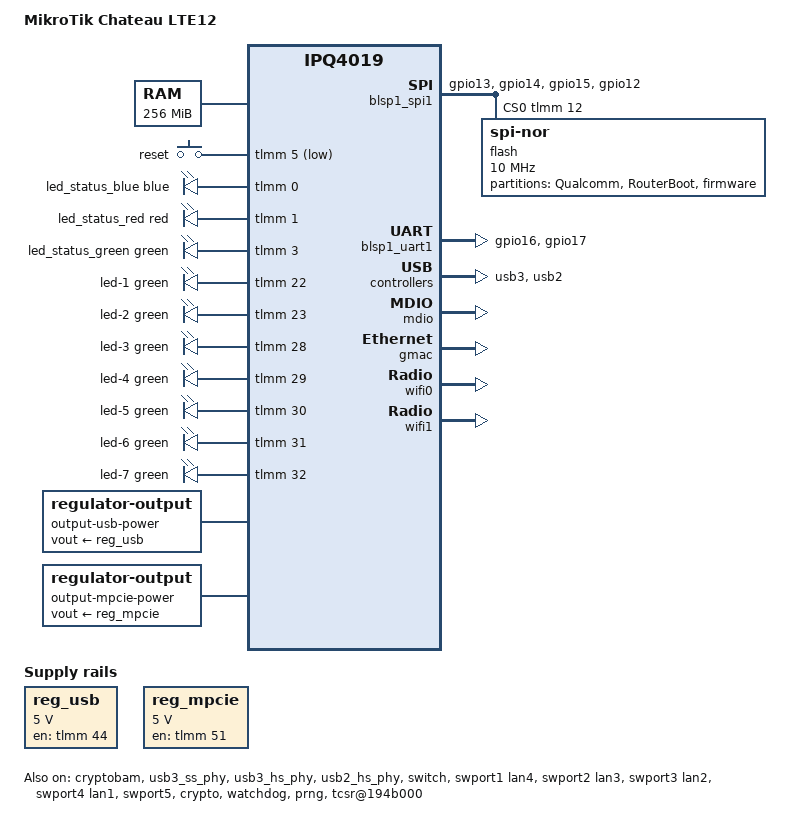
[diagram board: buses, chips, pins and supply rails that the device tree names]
// SPDX-License-Identifier: GPL-2.0-or-later OR MIT
/* Copyright (c) 2021, Robert Marko <robimarko@gmail.com> */

#include "qcom-ipq4019.dtsi"
#include <dt-bindings/gpio/gpio.h>
#include <dt-bindings/input/input.h>
#include <dt-bindings/leds/common.h>
#include <dt-bindings/soc/qcom,tcsr.h>

/ {
	model = "MikroTik Chateau LTE12";
	compatible = "mikrotik,chateau-lte12";

	memory {
		device_type = "memory";
		reg = <0x80000000 0x10000000>;
	};

	chosen {
		stdout-path = "serial0:115200n8";
	};

	aliases {
		led-boot = &led_status_blue;
		led-failsafe = &led_status_red;
		led-running = &led_status_blue;
		led-upgrade = &led_status_red;
	};

	soc {
		counter@4a1000 {
			compatible = "qcom,qca-gcnt";
			reg = <0x4a1000 0x4>;
		};

		tcsr@1949000 {
			compatible = "qcom,tcsr";
			reg = <0x1949000 0x100>;
			qcom,wifi_glb_cfg = <TCSR_WIFI_GLB_CFG>;
		};

		tcsr@194b000 {
			/* select hostmode */
			compatible = "qcom,tcsr";
			reg = <0x194b000 0x100>;
			qcom,usb-hsphy-mode-select = <TCSR_USB_HSPHY_HOST_MODE>;
			status = "okay";
		};

		ess_tcsr@1953000 {
			compatible = "qcom,tcsr";
			reg = <0x1953000 0x1000>;
			qcom,ess-interface-select = <TCSR_ESS_PSGMII>;
		};

		tcsr@1957000 {
			compatible = "qcom,tcsr";
			reg = <0x1957000 0x100>;
			qcom,wifi_noc_memtype_m0_m2 = <TCSR_WIFI_NOC_MEMTYPE_M0_M2>;
		};
	};

	keys {
		compatible = "gpio-keys";

		reset {
			label = "reset";
			gpios = <&tlmm 5 GPIO_ACTIVE_LOW>;
			linux,code = <KEY_RESTART>;
		};
	};

	leds {
		compatible = "gpio-leds";

		led_status_blue: status-blue {
			function = LED_FUNCTION_STATUS;
			color = <LED_COLOR_ID_BLUE>;
			gpios = <&tlmm 0 GPIO_ACTIVE_HIGH>;
		};

		led_status_red: status-red {
			function = LED_FUNCTION_STATUS;
			color = <LED_COLOR_ID_RED>;
			gpios = <&tlmm 1 GPIO_ACTIVE_HIGH>;
			panic-indicator;
		};

		led_status_green: status-green {
			function = LED_FUNCTION_STATUS;
			color = <LED_COLOR_ID_GREEN>;
			gpios = <&tlmm 3 GPIO_ACTIVE_HIGH>;
		};

		led-1 {
			function = LED_FUNCTION_WLAN;
			function-enumerator = <0>;
			color = <LED_COLOR_ID_GREEN>;
			gpios = <&tlmm 22 GPIO_ACTIVE_HIGH>;
			linux,default-trigger = "phy0tpt";
		};

		led-2 {
			function = LED_FUNCTION_WLAN;
			function-enumerator = <1>;
			color = <LED_COLOR_ID_GREEN>;
			gpios = <&tlmm 23 GPIO_ACTIVE_HIGH>;
			linux,default-trigger = "phy1tpt";
		};

		led-3 {
			function = LED_FUNCTION_WAN;
			color = <LED_COLOR_ID_GREEN>;
			gpios = <&tlmm 28 GPIO_ACTIVE_HIGH>;
		};

		led-4 {
			color = <LED_COLOR_ID_GREEN>;
			function = LED_FUNCTION_LAN;
			function-enumerator = <1>;
			gpios = <&tlmm 29 GPIO_ACTIVE_HIGH>;
		};

		led-5 {
			color = <LED_COLOR_ID_GREEN>;
			function = LED_FUNCTION_LAN;
			function-enumerator = <2>;
			gpios = <&tlmm 30 GPIO_ACTIVE_HIGH>;
		};

		led-6 {
			color = <LED_COLOR_ID_GREEN>;
			function = LED_FUNCTION_LAN;
			function-enumerator = <3>;
			gpios = <&tlmm 31 GPIO_ACTIVE_HIGH>;
		};

		led-7 {
			color = <LED_COLOR_ID_GREEN>;
			function = LED_FUNCTION_LAN;
			function-enumerator = <4>;
			gpios = <&tlmm 32 GPIO_ACTIVE_HIGH>;
		};

	};
	output-usb-power {
		compatible = "regulator-output";
		vout-supply = <&reg_usb>;
	};

	reg_usb: regulator-usb {
		compatible = "regulator-fixed";
	
		pinctrl-0 = <&reg_usb_pins>;
		pinctrl-names = "default";
	
		enable-active-high;
		gpios = <&tlmm 44 GPIO_ACTIVE_HIGH>;
		regulator-max-microvolt = <5000000>;
		regulator-min-microvolt = <5000000>;
		regulator-name = "reg_usb";
		regulator-boot-on;
	};

	output-mpcie-power {
		compatible = "regulator-output";
		vout-supply = <&reg_mpcie>;
	};
	
	reg_mpcie: regulator-mpcie {
		compatible = "regulator-fixed";
	
		pinctrl-0 = <&reg_mpcie_pins>;
		pinctrl-names = "default";
	
		enable-active-high;
		gpios = <&tlmm 51 GPIO_ACTIVE_HIGH>;
		regulator-max-microvolt = <5000000>;
		regulator-min-microvolt = <5000000>;
		regulator-name = "reg_mpcie";
		regulator-boot-on;
	};

};

&tlmm {
	serial_pins: serial_pinmux {
		mux {
			pins = "gpio16", "gpio17";
			function = "blsp_uart0";
			bias-disable;
		};
	};

	spi_0_pins: spi_0_pinmux {
		pin {
			function = "blsp_spi0";
			pins = "gpio13", "gpio14", "gpio15";
			drive-strength = <12>;
			bias-disable;
		};

		pin_cs {
			function = "gpio";
			pins = "gpio12";
			drive-strength = <2>;
			bias-disable;
			output-high;
		};
	};
	
	reg_usb_pins: reg_usb_pinmux {
		gpio {
			pins = "gpio44";
			function = "gpio";
			drive-strength = <8>;
			bias-disable;
			output-high;
		};
	};

	reg_mpcie_pins: reg_mpcie_pinmux {
		gpio {
			pins = "gpio51";
			function = "gpio";
			drive-strength = <8>;
			bias-disable;
			output-high;
		};
	};

};

&blsp_dma {
	status = "okay";
};

&blsp1_spi1 {
	status = "okay";

	pinctrl-0 = <&spi_0_pins>;
	pinctrl-names = "default";
	cs-gpios = <&tlmm 12 GPIO_ACTIVE_HIGH>;

	flash@0 {
		reg = <0>;
		compatible = "jedec,spi-nor";
		spi-max-frequency = <10000000>;
		#address-cells = <1>;
		#size-cells = <1>;

		partitions {
			compatible = "fixed-partitions";

			partition@0 {
				label = "Qualcomm";
				reg = <0x0 0x80000>;
				read-only;
			};

			partition@80000 {
				compatible = "mikrotik,routerboot-partitions";
				label = "RouterBoot";
				reg = <0x80000 0x80000>;

				hard_config {
					size = <0x2000>;
					nvmem-layout {
						compatible = "mikrotik,routerboot-nvmem";

						macaddr_hard: base-mac-address {
							#nvmem-cell-cells = <1>;
						};
					};
				};

				dtb_config {
					read-only;
				};

				soft_config {
				};
			};

			partition@110000 {
				compatible = "mikrotik,minor";
				label = "firmware";
				reg = <0x100000 0xf00000>;
			};
		};
	};
};

&blsp1_uart1 {
	status = "okay";
	pinctrl-0 = <&serial_pins>;
	pinctrl-names = "default";
};

&cryptobam {
	status = "okay";
};

&usb3_ss_phy {
	status = "okay";
};

&usb3_hs_phy {
	status = "okay";
};

&usb3 {
	status = "okay";
};

&usb2_hs_phy {
	status = "okay";
};

&usb2 {
	status = "okay";
};

&mdio {
	status = "okay";
};

&gmac {
	status = "okay";
};

&switch {
	status = "okay";
};

&swport1 {
	status = "okay";
	label = "lan4";
	nvmem-cells = <&macaddr_hard 4>;
	nvmem-cell-names = "mac-address";
};

&swport2 {
	status = "okay";
	label = "lan3";
	nvmem-cells = <&macaddr_hard 3>;
	nvmem-cell-names = "mac-address";
};

&swport3 {
	status = "okay";
	label = "lan2";
	nvmem-cells = <&macaddr_hard 2>;
	nvmem-cell-names = "mac-address";
};

&swport4 {
	status = "okay";
	label = "lan1";
	nvmem-cells = <&macaddr_hard 1>;
	nvmem-cell-names = "mac-address";
};

&swport5 {
	status = "okay";
	nvmem-cells = <&macaddr_hard 0>;
	nvmem-cell-names = "mac-address";
};

&wifi0 {
	status = "okay";
};

&wifi1 {
	status = "okay";
};

&crypto {
	status = "okay";
};

&watchdog {
	status = "okay";
};

&prng {
	status = "okay";
};
